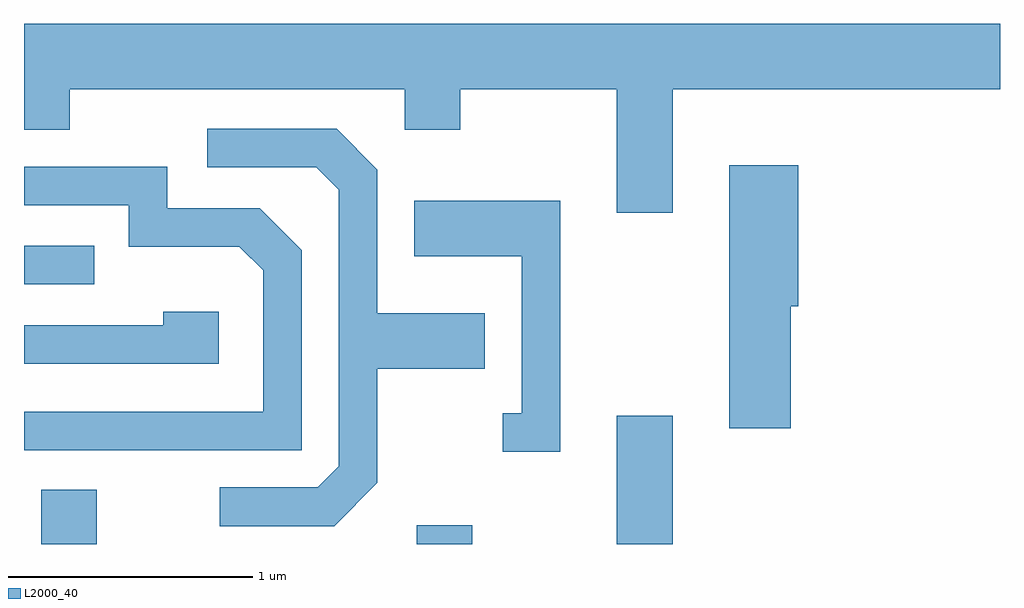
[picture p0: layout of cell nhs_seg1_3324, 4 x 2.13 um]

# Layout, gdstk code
import gdstk
lib = gdstk.Library(unit=1e-6, precision=1e-09)
def R(c, l, rs):  # rectangles x0, y0, x1, y1
    for r in rs: c.add(gdstk.rectangle(r[:2], r[2:], *l))
def P(c, l, *ps):  # polygons
    for p in ps: c.add(gdstk.Polygon(p, *l))
L2000_40 = (2000, 40)

nhs_seg1_3324 = lib.new_cell('nhs_seg1_3324')
R(nhs_seg1_3324, L2000_40, [(285.681,897.712,285.909,897.934), (287.221,897.712,287.449,897.789), (288.041,897.712,288.269,898.239), (285.611,898.776,285.898,898.934)])
P(nhs_seg1_3324, L2000_40, [(285.611,899.411),(285.799,899.411),(285.799,899.576),(287.171,899.576),(287.171,899.411),(287.399,899.411),(287.399,899.576),(288.041,899.576),(288.041,899.071),(288.269,899.071),(288.269,899.576),(289.611,899.576),(289.611,899.844),(285.611,899.844)],
  [(287.059,897.964),(287.059,898.431),(287.499,898.431),(287.499,898.659),(287.059,898.659),(287.059,899.247),(286.892,899.414),(286.363,899.414),(286.363,899.256),(286.809,899.256),(286.901,899.164),(286.901,898.032),(286.814,897.944),(286.413,897.944),(286.413,897.786),(286.882,897.786)],
  [(288.754,898.686),(288.784,898.686),(288.784,899.264),(288.501,899.264),(288.501,898.186),(288.754,898.186)],
  [(286.749,898.917),(286.577,899.089),(286.199,899.089),(286.199,899.259),(285.611,899.259),(285.611,899.101),(286.041,899.101),(286.041,898.931),(286.494,898.931),(286.591,898.834),(286.591,898.254),(285.611,898.254),(285.611,898.096),(286.749,898.096)],
  [(287.809,899.119),(287.211,899.119),(287.211,898.891),(287.651,898.891),(287.651,898.249),(287.573,898.249),(287.573,898.091),(287.809,898.091)],
  [(286.409,898.664),(286.181,898.664),(286.181,898.609),(285.611,898.609),(285.611,898.451),(286.409,898.451)])

lib.write_gds('nhs_seg1_3324.gds')
